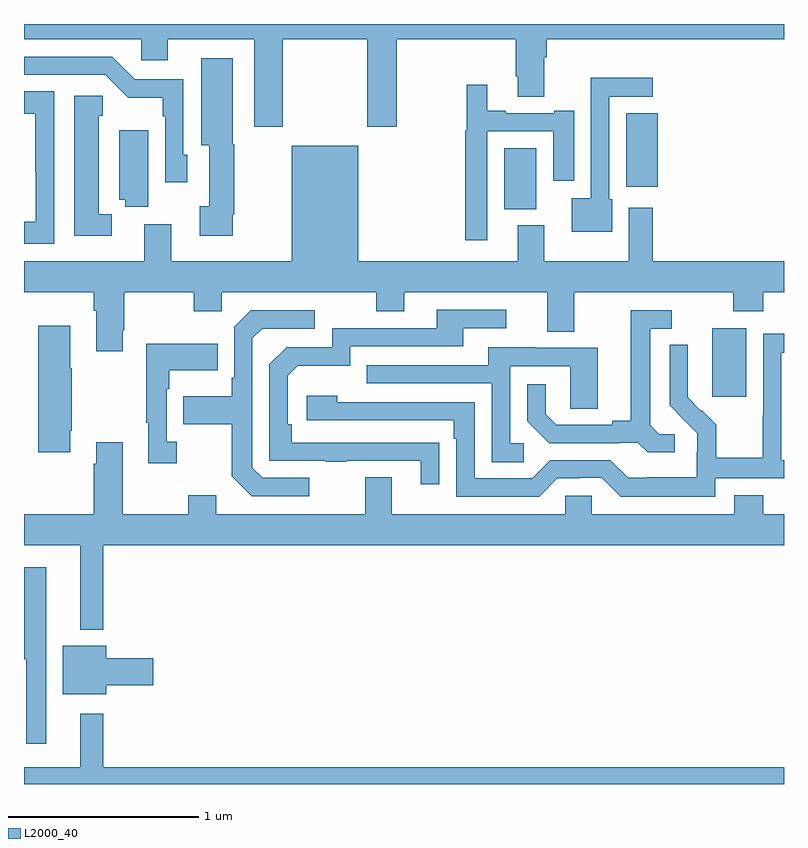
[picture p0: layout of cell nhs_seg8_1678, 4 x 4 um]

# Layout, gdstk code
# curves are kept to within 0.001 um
import gdstk
lib = gdstk.Library(unit=1e-6, precision=1e-09)
def R(c, l, rs):  # rectangles x0, y0, x1, y1
    for r in rs: c.add(gdstk.rectangle(r[:2], r[2:], *l))
def P(c, l, *ps):  # polygons
    for p in ps: c.add(gdstk.Polygon(p, *l))
L2000_40 = (2000, 40)

nhs_seg8_1678 = lib.new_cell('nhs_seg8_1678')
R(nhs_seg8_1678, L2000_40, [(220.622,1127.937,220.801,1128.298), (219.527,1128.926,219.697,1129.246), (220.169,1129.043,220.336,1129.429)])
P(nhs_seg8_1678, L2000_40, [(218.361,1129.82),(218.806,1129.82),(218.806,1129.359),(218.961,1129.359),(218.961,1129.82),(219.587,1129.82),(219.587,1129.624),(219.599,1129.624),(219.599,1129.516),(219.739,1129.516),(219.739,1129.724),(219.752,1129.724),(219.752,1129.82),(221,1129.82),(221,1129.9),(217,1129.9),(217,1129.82),(217.617,1129.82),(217.617,1129.71),(217.756,1129.71),(217.756,1129.82),(218.213,1129.82),(218.213,1129.359),(218.361,1129.359)],
  [(217.86,1129.212),(217.839,1129.212),(217.839,1129.608),(217.584,1129.608),(217.464,1129.728),(217,1129.728),(217,1129.632),(217.428,1129.632),(217.549,1129.511),(217.731,1129.511),(217.731,1129.415),(217.743,1129.415),(217.743,1129.068),(217.86,1129.068)],
  [(218.098,1128.898),(218.106,1128.898),(218.106,1129.266),(218.098,1129.266),(218.098,1129.72),(217.934,1129.72),(217.934,1129.262),(217.976,1129.262),(217.976,1128.942),(217.926,1128.942),(217.926,1128.786),(218.098,1128.786)],
  [(220.096,1128.978),(220.08,1128.978),(220.08,1129.518),(220.309,1129.518),(220.309,1129.616),(219.984,1129.616),(219.984,1128.982),(219.884,1128.982),(219.884,1128.806),(220.096,1128.806)],
  [(219.438,1129.335),(219.785,1129.335),(219.785,1129.074),(219.895,1129.074),(219.895,1129.444),(219.791,1129.444),(219.791,1129.431),(219.535,1129.431),(219.535,1129.444),(219.439,1129.444),(219.439,1129.579),(219.33,1129.579),(219.33,1129.338),(219.322,1129.338),(219.322,1128.762),(219.438,1128.762)],
  [(217.158,1129.547),(217,1129.547),(217,1129.427),(217.06,1129.427),(217.06,1129.123),(217.061,1129.123),(217.061,1128.86),(217,1128.86),(217,1128.744),(217.158,1128.744)],
  [(217.462,1128.9),(217.393,1128.9),(217.393,1129.416),(217.415,1129.416),(217.415,1129.522),(217.265,1129.522),(217.265,1128.785),(217.462,1128.785)],
  [(217.654,1129.342),(217.502,1129.342),(217.502,1128.974),(217.534,1128.974),(217.534,1128.937),(217.654,1128.937)],
  [(217.519,1128.289),(217.527,1128.289),(217.527,1128.488),(217.894,1128.488),(217.894,1128.389),(218.04,1128.389),(218.04,1128.488),(218.854,1128.488),(218.854,1128.389),(219.001,1128.389),(219.001,1128.488),(219.755,1128.488),(219.755,1128.28),(219.895,1128.28),(219.895,1128.488),(220.732,1128.488),(220.732,1128.389),(220.892,1128.389),(220.892,1128.488),(221,1128.488),(221,1128.652),(220.31,1128.652),(220.31,1128.934),(220.184,1128.934),(220.184,1128.652),(219.739,1128.652),(219.739,1128.841),(219.599,1128.841),(219.599,1128.652),(218.758,1128.652),(218.758,1129.258),(218.408,1129.258),(218.408,1128.652),(217.774,1128.652),(217.774,1128.847),(217.634,1128.847),(217.634,1128.652),(217,1128.652),(217,1128.488),(217.367,1128.488),(217.367,1128.392),(217.379,1128.392),(217.379,1128.177),(217.519,1128.177)],
  [(219.185,1127.696),(218.408,1127.697),(218.408,1127.794),(218.388,1127.794),(218.388,1128.048),(218.441,1128.101),(218.718,1128.101),(218.718,1128.204),(219.313,1128.204),(219.313,1128.3),(219.538,1128.3),(219.538,1128.396),(219.173,1128.396),(219.173,1128.3),(218.622,1128.3),(218.622,1128.198),(218.382,1128.198),(218.292,1128.108),(218.292,1127.601),(218.587,1127.601),(218.587,1127.596),(218.699,1127.596),(218.699,1127.601),(219.089,1127.601),(219.089,1127.478),(219.185,1127.478)],
  [(220.426,1127.742),(220.344,1127.742),(220.297,1127.789),(220.297,1128.297),(220.408,1128.297),(220.408,1128.393),(220.193,1128.393),(220.193,1127.813),(220.097,1127.813),(220.097,1127.79),(219.802,1127.79),(219.745,1127.847),(219.745,1128.004),(219.648,1128.004),(219.648,1127.81),(219.764,1127.694),(220.136,1127.694),(220.136,1127.697),(220.23,1127.697),(220.282,1127.645),(220.426,1127.645)],
  [(218.5,1127.511),(218.256,1127.511),(218.202,1127.565),(218.202,1128.246),(218.253,1128.297),(218.53,1128.297),(218.53,1128.393),(218.193,1128.393),(218.106,1128.306),(218.106,1128.037),(218.094,1128.037),(218.094,1127.941),(217.837,1127.941),(217.837,1127.794),(218.094,1127.794),(218.094,1127.521),(218.199,1127.415),(218.5,1127.415)],
  [(217.243,1127.758),(217.251,1127.758),(217.251,1128.089),(217.243,1128.089),(217.243,1128.313),(217.076,1128.313),(217.076,1127.646),(217.243,1127.646)],
  [(220.638,1127.508),(221,1127.508),(221,1127.604),(220.986,1127.604),(220.986,1128.171),(221,1128.171),(221,1128.27),(220.89,1128.27),(220.89,1127.84),(220.888,1127.84),(220.888,1127.617),(220.643,1127.617),(220.643,1127.791),(220.566,1127.868),(220.563,1127.865),(220.493,1127.936),(220.494,1128.212),(220.398,1128.212),(220.398,1127.894),(220.544,1127.746),(220.544,1127.649),(220.542,1127.649),(220.542,1127.515),(220.279,1127.515),(220.279,1127.511),(220.179,1127.511),(220.086,1127.604),(219.771,1127.604),(219.675,1127.508),(219.372,1127.508),(219.372,1127.91),(218.648,1127.91),(218.648,1127.944),(218.487,1127.944),(218.487,1127.814),(219.263,1127.814),(219.263,1127.717),(219.276,1127.717),(219.276,1127.412),(219.711,1127.412),(219.807,1127.508),(219.926,1127.508),(219.926,1127.511),(220.041,1127.511),(220.141,1127.411),(220.638,1127.411)],
  [(217.804,1127.702),(217.752,1127.702),(217.752,1127.981),(217.765,1127.981),(217.765,1128.077),(218.021,1128.077),(218.021,1128.217),(217.644,1128.217),(217.644,1127.801),(217.655,1127.801),(217.655,1127.589),(217.804,1127.589)],
  [(219.631,1127.694),(219.558,1127.694),(219.558,1128.099),(219.876,1128.099),(219.876,1127.875),(220.021,1127.875),(220.021,1128.195),(219.697,1128.195),(219.697,1128.199),(219.443,1128.199),(219.443,1128.105),(218.803,1128.105),(218.803,1128.009),(219.462,1128.009),(219.462,1127.593),(219.631,1127.593)],
  [(217.417,1127.156),(221,1127.156),(221,1127.32),(220.892,1127.32),(220.892,1127.419),(220.739,1127.419),(220.739,1127.32),(219.987,1127.32),(219.987,1127.418),(219.849,1127.418),(219.849,1127.32),(218.935,1127.32),(218.935,1127.515),(218.795,1127.515),(218.795,1127.32),(218.011,1127.32),(218.011,1127.419),(217.864,1127.419),(217.864,1127.32),(217.519,1127.32),(217.519,1127.698),(217.379,1127.698),(217.379,1127.585),(217.367,1127.585),(217.367,1127.32),(217,1127.32),(217,1127.156),(217.295,1127.156),(217.295,1126.712),(217.417,1126.712)],
  [(217.117,1127.041),(217,1127.041),(217,1126.556),(217.013,1126.556),(217.013,1126.113),(217.117,1126.113)],
  [(217.432,1126.42),(217.681,1126.42),(217.681,1126.562),(217.432,1126.562),(217.432,1126.627),(217.205,1126.627),(217.205,1126.373),(217.432,1126.373)],
  [(221,1125.988),(217.417,1125.988),(217.417,1126.27),(217.295,1126.27),(217.295,1125.988),(217,1125.988),(217,1125.9),(221,1125.9)])

lib.write_gds('nhs_seg8_1678.gds')
